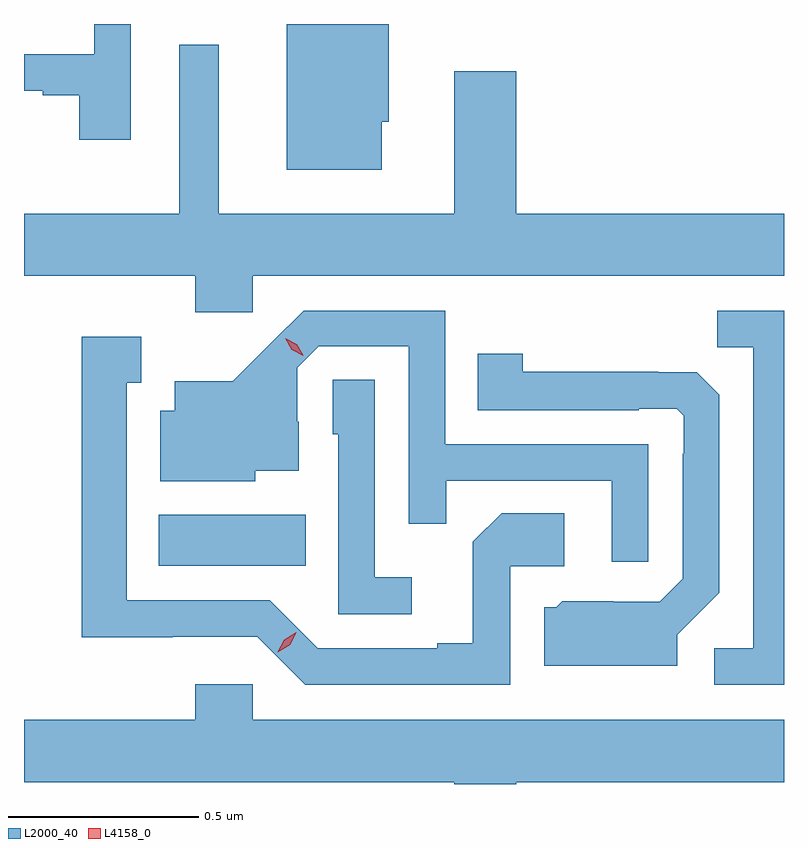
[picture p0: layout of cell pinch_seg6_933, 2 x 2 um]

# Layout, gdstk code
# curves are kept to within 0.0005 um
import gdstk
lib = gdstk.Library(unit=1e-6, precision=1e-09)
def R(c, l, rs):  # rectangles x0, y0, x1, y1
    for r in rs: c.add(gdstk.rectangle(r[:2], r[2:], *l))
def P(c, l, *ps):  # polygons
    for p in ps: c.add(gdstk.Polygon(p, *l))
L2000_40 = (2000, 40)
L4158_0 = (4158, 0)

pinch_seg6_933 = lib.new_cell('pinch_seg6_933')
R(pinch_seg6_933, L2000_40, [(140.255,918.602,140.642,918.736)])
P(pinch_seg6_933, L2000_40, [(140.181,920.027),(140.085,920.027),(140.085,919.947),(139.9,919.947),(139.9,919.851),(139.949,919.851),(139.949,919.839),(140.045,919.839),(140.045,919.722),(140.181,919.722)],
  [(140.842,919.77),(140.86,919.77),(140.86,920.027),(140.591,920.027),(140.591,919.643),(140.842,919.643)],
  [(140.502,919.364),(141.9,919.364),(141.9,919.528),(141.196,919.528),(141.196,919.903),(141.032,919.903),(141.032,919.528),(140.413,919.528),(140.413,919.972),(140.309,919.972),(140.309,919.528),(139.9,919.528),(139.9,919.364),(140.351,919.364),(140.351,919.269),(140.502,919.269)],
  [(141.543,918.921),(141.009,918.921),(141.009,919.272),(140.636,919.272),(140.449,919.087),(140.297,919.087),(140.297,919.009),(140.258,919.009),(140.258,918.824),(140.508,918.824),(140.508,918.851),(140.623,918.851),(140.623,918.98),(140.619,918.98),(140.619,919.122),(140.676,919.179),(140.913,919.179),(140.913,918.712),(141.011,918.712),(141.011,918.825),(141.447,918.825),(141.447,918.612),(141.543,918.612)],
  [(141.9,919.272),(141.724,919.272),(141.724,919.177),(141.819,919.177),(141.819,918.384),(141.717,918.384),(141.717,918.288),(141.9,918.288)],
  [(141.18,918.6),(141.322,918.6),(141.322,918.74),(141.157,918.74),(141.081,918.664),(141.081,918.397),(140.987,918.397),(140.987,918.384),(140.673,918.384),(140.547,918.51),(140.17,918.51),(140.17,919.083),(140.209,919.083),(140.209,919.204),(140.052,919.204),(140.052,918.413),(140.292,918.413),(140.292,918.414),(140.514,918.414),(140.64,918.288),(141.18,918.288)],
  [(141.619,918.42),(141.729,918.53),(141.729,919.052),(141.67,919.111),(141.569,919.111),(141.569,919.112),(141.213,919.112),(141.213,919.159),(141.094,919.159),(141.094,919.011),(141.518,919.011),(141.518,919.014),(141.618,919.014),(141.636,918.996),(141.636,918.896),(141.633,918.896),(141.633,918.567),(141.573,918.507),(141.45,918.507),(141.45,918.508),(141.316,918.508),(141.3,918.492),(141.269,918.492),(141.269,918.338),(141.619,918.338)],
  [(140.92,918.571),(140.823,918.571),(140.823,919.091),(140.712,919.091),(140.712,918.948),(140.727,918.948),(140.727,918.474),(140.92,918.474)],
  [(141.196,918.032),(141.9,918.032),(141.9,918.196),(140.502,918.196),(140.502,918.289),(140.351,918.289),(140.351,918.196),(139.9,918.196),(139.9,918.032),(141.032,918.032),(141.032,918.027),(141.196,918.027)])
P(pinch_seg6_933, L4158_0, [(140.635,919.154),(140.604,919.17),(140.587,919.2),(140.587,919.2),(140.588,919.2),(140.618,919.184),(140.635,919.155),(140.635,919.154)],
  [(140.568,918.374),(140.568,918.375),(140.585,918.407),(140.616,918.427),(140.617,918.427),(140.617,918.427),(140.6,918.394),(140.568,918.374)])

lib.write_gds('pinch_seg6_933.gds')
